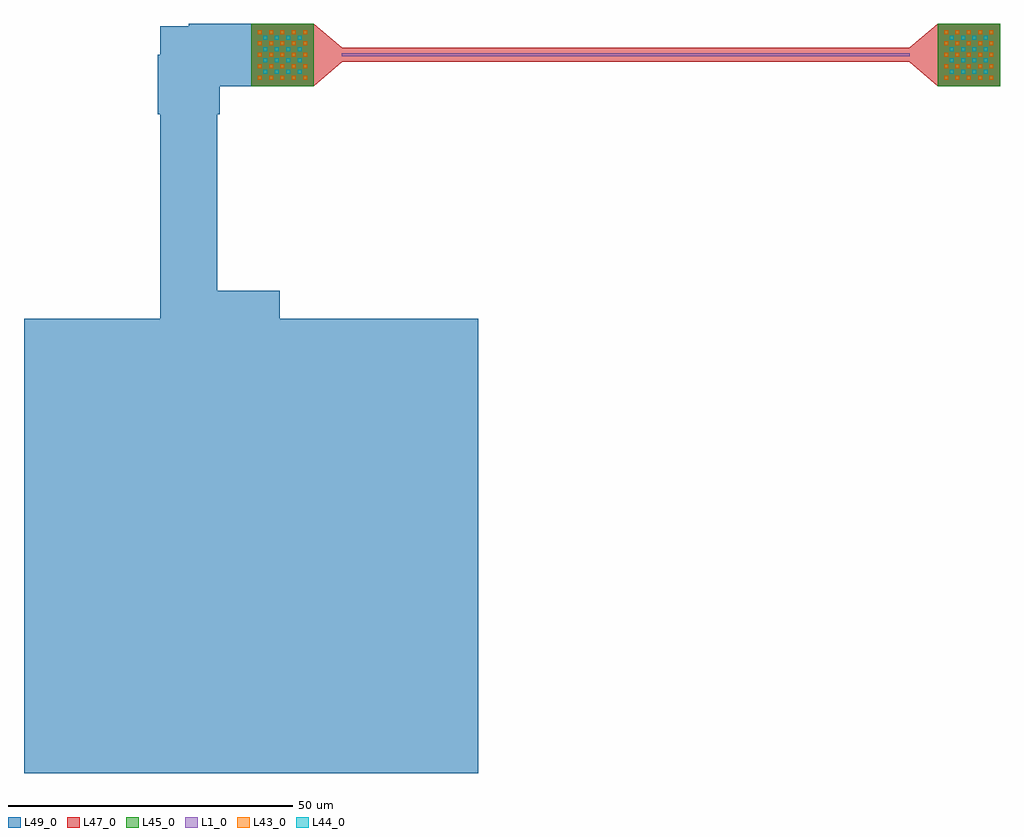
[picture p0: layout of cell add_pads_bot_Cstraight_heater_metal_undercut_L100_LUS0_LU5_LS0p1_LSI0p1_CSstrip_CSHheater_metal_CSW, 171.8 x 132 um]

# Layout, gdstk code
from math import pi, radians
import gdstk
lib = gdstk.Library(unit=1e-6, precision=1e-09)
def R(c, l, rs):  # rectangles x0, y0, x1, y1
    for r in rs: c.add(gdstk.rectangle(r[:2], r[2:], *l))
def P(c, l, *ps):  # polygons
    for p in ps: c.add(gdstk.Polygon(p, *l))
L1_0 = (1, 0)
L43_0 = (43, 0)
L44_0 = (44, 0)
L45_0 = (45, 0)
L47_0 = (47, 0)
L49_0 = (49, 0)

compass_s11_11_lheater_p = lib.new_cell('compass_S11_11_LHEATER_PTelectrical_PI0_PO180_90_0_m90')
R(compass_s11_11_lheater_p, L47_0, [(-5.5,-5.5,5.5,5.5)])

compass_s11_11_lm2_ptele = lib.new_cell('compass_S11_11_LM2_PTelectrical_PI0_PO180_90_0_m90')
R(compass_s11_11_lm2_ptele, L45_0, [(-5.5,-5.5,5.5,5.5)])

compass_s11_11_lmtop_pte = lib.new_cell('compass_S11_11_LMTOP_PTelectrical_PI0_PO180_90_0_m90')
R(compass_s11_11_lmtop_pte, L49_0, [(-5.5,-5.5,5.5,5.5)])

via_s0p7_0p7_s2_2_gnone_ = lib.new_cell('via_S0p7_0p7_S2_2_GNone_E2_LVIA1_BLNone_BO0')
R(via_s0p7_0p7_s2_2_gnone_, L44_0, [(-0.35,-0.35,0.35,0.35)])

c_via_s0p7_0p7_s2_2_gnone_ = lib.new_cell('via_S0p7_0p7_S2_2_GNone_E1_LVIA2_BLNone_BO0')
R(c_via_s0p7_0p7_s2_2_gnone_, L43_0, [(-0.35,-0.35,0.35,0.35)])

via_stack_s11_11_lheater = lib.new_cell('via_stack_S11_11_LHEATER_M2_MTOP_LONone_VNone_Fvia_Mgdsfactorypcomponentspvia_SLVIA1_E2_Fvia_Mgdsfa')
via_stack_s11_11_lheater.add(gdstk.Reference(compass_s11_11_lheater_p, (0,0)))
via_stack_s11_11_lheater.add(gdstk.Reference(compass_s11_11_lm2_ptele, (0,0)))
via_stack_s11_11_lheater.add(gdstk.Reference(compass_s11_11_lmtop_pte, (0,0)))
r = gdstk.Reference(via_s0p7_0p7_s2_2_gnone_, (-3,-3)); r.repetition = gdstk.Repetition(4, 4, v1=(2,0), v2=(0,2)); via_stack_s11_11_lheater.add(r)
r = gdstk.Reference(c_via_s0p7_0p7_s2_2_gnone_, (-4,-4)); r.repetition = gdstk.Repetition(5, 5, v1=(2,0), v2=(0,2)); via_stack_s11_11_lheater.add(r)

taper_l5_w11_w2p5_pnone_ = lib.new_cell('taper_L5_W11_W2p5_PNone_WTPTrue_CSxs_c500a645_PNe1_e2_PTelectrical_electrical_WBTrue')
P(taper_l5_w11_w2p5_pnone_, L47_0, [(0,-5.5),(0,5.5),(5,1.25),(5,-1.25)])

straight_l0p1_n2_csstrip = lib.new_cell('straight_L0p1_N2_CSstrip')
R(straight_l0p1_n2_csstrip, L1_0, [(0,-0.25,0.1,0.25)])

straight_l2p4_n2_csstrip = lib.new_cell('straight_L2p4_N2_CSstrip_heater_metal')
R(straight_l2p4_n2_csstrip, L1_0, [(0,-0.25,2.4,0.25)])
R(straight_l2p4_n2_csstrip, L47_0, [(0,-1.25,2.4,1.25)])

straight_l5_n2_csstrip_h = lib.new_cell('straight_L5_N2_CSstrip_heater_metal')
R(straight_l5_n2_csstrip_h, L1_0, [(0,-0.25,5,0.25)])
R(straight_l5_n2_csstrip_h, L47_0, [(0,-1.25,5,1.25)])

straight_l0_n2_csstrip_h = lib.new_cell('straight_L0_N2_CSstrip_heater_metal')

straight_heater_metal_un = lib.new_cell('straight_heater_metal_undercut_L100_LUS0_LU5_LS0p1_LSI0p1_CSstrip_CSHheater_metal_CSWHstrip_heater_')
straight_heater_metal_un.add(gdstk.Reference(via_stack_s11_11_lheater, (-10.4,0)))
straight_heater_metal_un.add(gdstk.Reference(via_stack_s11_11_lheater, (110.4,0)))
straight_heater_metal_un.add(gdstk.Reference(taper_l5_w11_w2p5_pnone_, (-4.9,0)))
straight_heater_metal_un.add(gdstk.Reference(taper_l5_w11_w2p5_pnone_, (104.9,0), rotation=pi))
straight_heater_metal_un.add(gdstk.Reference(straight_l0p1_n2_csstrip, (0,0)))
straight_heater_metal_un.add(gdstk.Reference(straight_l2p4_n2_csstrip, (0.1,0)))
straight_heater_metal_un.add(gdstk.Reference(straight_l5_n2_csstrip_h, (2.5,0)))
straight_heater_metal_un.add(gdstk.Reference(straight_l0_n2_csstrip_h, (7.5,0)))
straight_heater_metal_un.add(gdstk.Reference(straight_l5_n2_csstrip_h, (7.5,0)))
straight_heater_metal_un.add(gdstk.Reference(straight_l0_n2_csstrip_h, (12.5,0)))
straight_heater_metal_un.add(gdstk.Reference(straight_l5_n2_csstrip_h, (12.5,0)))
straight_heater_metal_un.add(gdstk.Reference(straight_l0_n2_csstrip_h, (17.5,0)))
straight_heater_metal_un.add(gdstk.Reference(straight_l5_n2_csstrip_h, (17.5,0)))
straight_heater_metal_un.add(gdstk.Reference(straight_l0_n2_csstrip_h, (22.5,0)))
straight_heater_metal_un.add(gdstk.Reference(straight_l5_n2_csstrip_h, (22.5,0)))
straight_heater_metal_un.add(gdstk.Reference(straight_l0_n2_csstrip_h, (27.5,0)))
straight_heater_metal_un.add(gdstk.Reference(straight_l5_n2_csstrip_h, (27.5,0)))
straight_heater_metal_un.add(gdstk.Reference(straight_l0_n2_csstrip_h, (32.5,0)))
straight_heater_metal_un.add(gdstk.Reference(straight_l5_n2_csstrip_h, (32.5,0)))
straight_heater_metal_un.add(gdstk.Reference(straight_l0_n2_csstrip_h, (37.5,0)))
straight_heater_metal_un.add(gdstk.Reference(straight_l5_n2_csstrip_h, (37.5,0)))
straight_heater_metal_un.add(gdstk.Reference(straight_l0_n2_csstrip_h, (42.5,0)))
straight_heater_metal_un.add(gdstk.Reference(straight_l5_n2_csstrip_h, (42.5,0)))
straight_heater_metal_un.add(gdstk.Reference(straight_l0_n2_csstrip_h, (47.5,0)))
straight_heater_metal_un.add(gdstk.Reference(straight_l5_n2_csstrip_h, (47.5,0)))
straight_heater_metal_un.add(gdstk.Reference(straight_l0_n2_csstrip_h, (52.5,0)))
straight_heater_metal_un.add(gdstk.Reference(straight_l5_n2_csstrip_h, (52.5,0)))
straight_heater_metal_un.add(gdstk.Reference(straight_l0_n2_csstrip_h, (57.5,0)))
straight_heater_metal_un.add(gdstk.Reference(straight_l5_n2_csstrip_h, (57.5,0)))
straight_heater_metal_un.add(gdstk.Reference(straight_l0_n2_csstrip_h, (62.5,0)))
straight_heater_metal_un.add(gdstk.Reference(straight_l5_n2_csstrip_h, (62.5,0)))
straight_heater_metal_un.add(gdstk.Reference(straight_l0_n2_csstrip_h, (67.5,0)))
straight_heater_metal_un.add(gdstk.Reference(straight_l5_n2_csstrip_h, (67.5,0)))
straight_heater_metal_un.add(gdstk.Reference(straight_l0_n2_csstrip_h, (72.5,0)))
straight_heater_metal_un.add(gdstk.Reference(straight_l5_n2_csstrip_h, (72.5,0)))
straight_heater_metal_un.add(gdstk.Reference(straight_l0_n2_csstrip_h, (77.5,0)))
straight_heater_metal_un.add(gdstk.Reference(straight_l5_n2_csstrip_h, (77.5,0)))
straight_heater_metal_un.add(gdstk.Reference(straight_l0_n2_csstrip_h, (82.5,0)))
straight_heater_metal_un.add(gdstk.Reference(straight_l5_n2_csstrip_h, (82.5,0)))
straight_heater_metal_un.add(gdstk.Reference(straight_l0_n2_csstrip_h, (87.5,0)))
straight_heater_metal_un.add(gdstk.Reference(straight_l5_n2_csstrip_h, (87.5,0)))
straight_heater_metal_un.add(gdstk.Reference(straight_l0_n2_csstrip_h, (92.5,0)))
straight_heater_metal_un.add(gdstk.Reference(straight_l5_n2_csstrip_h, (92.5,0)))
straight_heater_metal_un.add(gdstk.Reference(straight_l0_n2_csstrip_h, (97.5,0)))
straight_heater_metal_un.add(gdstk.Reference(straight_l2p4_n2_csstrip, (97.5,0)))
straight_heater_metal_un.add(gdstk.Reference(straight_l0p1_n2_csstrip, (99.9,0)))

wire_corner_csxs_113efcf = lib.new_cell('wire_corner_CSxs_113efcfb')
R(wire_corner_csxs_113efcf, L49_0, [(-5,-5,5,5)])

straight_l11_n2_csxs_0ef = lib.new_cell('straight_L11_N2_CSxs_0efa6a61_W11')
R(straight_l11_n2_csxs_0ef, L49_0, [(0,-5.5,11,5.5)])

straight_l10p5_n2_csxs_0 = lib.new_cell('straight_L10p5_N2_CSxs_0efa6a61_W11')
R(straight_l10p5_n2_csxs_0, L49_0, [(0,-5.5,10.5,5.5)])

pad_spad_size_lmtop_blno = lib.new_cell('pad_Spad_size_LMTOP_BLNone_BONone_PI0_PO0')
R(pad_spad_size_lmtop_blno, L49_0, [(-40,-40,40,40)])

c_straight_l11_n2_csxs_0ef = lib.new_cell('straight_L11_N2_CSxs_0efa6a61_W10')
R(c_straight_l11_n2_csxs_0ef, L49_0, [(0,-5,11,5)])

straight_l36_n2_csxs_0ef = lib.new_cell('straight_L36_N2_CSxs_0efa6a61_W10')
R(straight_l36_n2_csxs_0ef, L49_0, [(0,-5,36,5)])

add_pads_bot_cstraight_h = lib.new_cell('add_pads_bot_Cstraight_heater_metal_undercut_L100_LUS0_LU5_LS0p1_LSI0p1_CSstrip_CSHheater_metal_CSW')
add_pads_bot_cstraight_h.add(gdstk.Reference(straight_heater_metal_un, (0,0)))
add_pads_bot_cstraight_h.add(gdstk.Reference(wire_corner_csxs_113efcf, (-26.9,0), rotation=pi/2, x_reflection=True))
add_pads_bot_cstraight_h.add(gdstk.Reference(straight_l11_n2_csxs_0ef, (-26.9,0), x_reflection=True))
add_pads_bot_cstraight_h.add(gdstk.Reference(straight_l10p5_n2_csxs_0, (-26.9,0), rotation=3*pi/2, x_reflection=True))
add_pads_bot_cstraight_h.add(gdstk.Reference(pad_spad_size_lmtop_blno, (-15.9,-86.5), rotation=3*pi/2))
add_pads_bot_cstraight_h.add(gdstk.Reference(wire_corner_csxs_113efcf, (-15.9,-46.5)))
add_pads_bot_cstraight_h.add(gdstk.Reference(wire_corner_csxs_113efcf, (-26.9,-46.5), rotation=3*pi/2))
add_pads_bot_cstraight_h.add(gdstk.Reference(c_straight_l11_n2_csxs_0ef, (-26.9,-46.5)))
add_pads_bot_cstraight_h.add(gdstk.Reference(straight_l36_n2_csxs_0ef, (-26.9,-46.5), rotation=pi/2))
add_pads_bot_cstraight_h.add(gdstk.Reference(straight_heater_metal_un, (0,0)))

lib.write_gds('add_pads_bot_Cstraight_heater_metal_undercut_L100_LUS0_LU5_LS0p1_LSI0p1_CSstrip_CSHheater_metal_CSW.gds')
